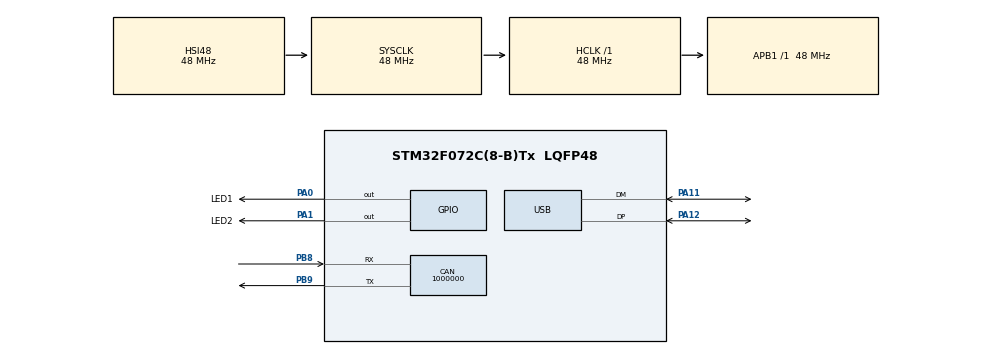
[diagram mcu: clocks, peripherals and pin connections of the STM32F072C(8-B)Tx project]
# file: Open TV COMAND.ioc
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AL94.I-CUBE-USBD-COMPOSITE.1.0.3.CompositeCcUSBJjCOMPOSITEJjCDCIiACM=true
AL94.I-CUBE-USBD-COMPOSITE.1.0.3.CompositeCcUSBJjCOMPOSITEJjCDCIiECM=true
AL94.I-CUBE-USBD-COMPOSITE.1.0.3.CompositeCcUSBJjCOMPOSITEJjCDCIiRNDIS=true
AL94.I-CUBE-USBD-COMPOSITE.1.0.3.CompositeCcUSBJjCOMPOSITEJjCOMPOSITE=true
AL94.I-CUBE-USBD-COMPOSITE.1.0.3.CompositeCcUSBJjCOMPOSITEJjCore=true
AL94.I-CUBE-USBD-COMPOSITE.1.0.3.CompositeCcUSBJjCOMPOSITEJjDFU=true
AL94.I-CUBE-USBD-COMPOSITE.1.0.3.CompositeCcUSBJjCOMPOSITEJjHIDIiCUSTOM=true
AL94.I-CUBE-USBD-COMPOSITE.1.0.3.CompositeCcUSBJjCOMPOSITEJjHIDIiKEYBOARD=true
AL94.I-CUBE-USBD-COMPOSITE.1.0.3.CompositeCcUSBJjCOMPOSITEJjHIDIiMOUSE=true
AL94.I-CUBE-USBD-COMPOSITE.1.0.3.CompositeCcUSBJjCOMPOSITEJjMSCIiBOT=true
AL94.I-CUBE-USBD-COMPOSITE.1.0.3.CompositeCcUSBJjCOMPOSITEJjPRINTER=true
AL94.I-CUBE-USBD-COMPOSITE.1.0.3.CompositeCcUSBJjCOMPOSITEJjUACIiMIC=true
AL94.I-CUBE-USBD-COMPOSITE.1.0.3.CompositeCcUSBJjCOMPOSITEJjUACIiSPKR=true
AL94.I-CUBE-USBD-COMPOSITE.1.0.3.CompositeCcUSBJjCOMPOSITEJjUVC=true
AL94.I-CUBE-USBD-COMPOSITE.1.0.3._STM32F1_DEVICE=true
AL94.I-CUBE-USBD-COMPOSITE.1.0.3._USBD_USE_CDC_ACM=true
AL94.I-CUBE-USBD-COMPOSITE.1.0.3._USBD_USE_HID_KEYBOARD=true
CAN.CalculateBaudRate=1000000
CAN.CalculateTimeBit=1000
CAN.CalculateTimeQuantum=333.3333333333333
CAN.NART=ENABLE
CAN.TTCM=ENABLE
Mcu.Family=STM32F0
Mcu.Name=STM32F072C(8-B)Tx
Mcu.Package=LQFP48
NVIC.CEC_CAN_IRQn=true\:0\:0\:false\:false\:true\:true\:true\:true
NVIC.USB_IRQn=true\:0\:0\:false\:false\:true\:true\:true\:true
PA0.GPIO_Label=LED1
PA0.Signal=GPIO_Output
PA1.GPIO_Label=LED2
PA1.Signal=GPIO_Output
PA11.Mode=Device
PA11.Signal=USB_DM
PA12.Mode=Device
PA12.Signal=USB_DP
PA13.Mode=Serial_Wire
PA13.Signal=SYS_SWDIO
PA14.Mode=Serial_Wire
PA14.Signal=SYS_SWCLK
PB8.Mode=CAN_Activate
PB8.Signal=CAN_RX
PB9.Mode=CAN_Activate
PB9.Signal=CAN_TX
ProjectManager.HeapSize=0x200
ProjectManager.StackSize=0x400
ProjectManager.TargetToolchain=STM32CubeIDE
RCC.AHBFreq_Value=48000000
RCC.APB1Freq_Value=48000000
RCC.APB1TimFreq_Value=48000000
RCC.HCLKFreq_Value=48000000
RCC.SYSCLKFreq_VALUE=48000000
RCC.SYSCLKSource=RCC_SYSCLKSOURCE_HSI48
VP_AL94.I-CUBE-USBD-COMPOSITE_VS_USBJjComposite_1.0.0_1.0.3.Mode=USBJjComposite
board=custom

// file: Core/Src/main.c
/* USER CODE BEGIN Header */
/**
 ******************************************************************************
 * @file           : main.c
 * @brief          : Main program body
 ******************************************************************************
 * @attention
 *
 * Copyright (c) 2026 STMicroelectronics.
 * All rights reserved.
 *
 * This software is licensed under terms that can be found in the LICENSE file
 * in the root directory of this software component.
 * If no LICENSE file comes with this software, it is provided AS-IS.
 *
 ******************************************************************************
 */
/* USER CODE END Header */
#include "main.h"
#include "can.h"
#include "usb.h"
#include "gpio.h"
#include "usb_device.h"
#include "usb_hid_keys.h"
#include "usbd_cdc_acm.h"
#include "usbd_cdc_acm_if.h"
#include "usbd_hid_keyboard.h"

/* USER CODE BEGIN PV */
CAN_TxHeaderTypeDef TxHeader;
CAN_RxHeaderTypeDef RxHeader;
uint8_t TxData[8] = { 0, };
uint8_t RxData[8] = { 0, };
uint32_t TxMailbox = 0;
uint32_t hid_release_tick = 0;    // The time when you need to release the key
uint8_t hid_need_release = 0;    // A flag indicating that the key is currently "push"

_Bool RxInput = 0;
_Bool KeyMode = 0;
unsigned char NumTx = 0;
unsigned char NumPress = 0;

extern uint8_t RX_Buffer[NUMBER_OF_CDC][APP_RX_DATA_SIZE];
volatile uint8_t recvDone = 0;
volatile uint16_t recvLen = 0;
uint8_t TxCDCData[9] = { 0 };
static const char hex_lut[] = "0123456789ABCDEF";
/* USER CODE END PV */

void SystemClock_Config(void);
void MX_GPIO_Init(void);
void MX_CAN_Init(void);

/* USER CODE BEGIN 0 */
extern USBD_HandleTypeDef hUsbDevice;

/* DFU BOOT support for STM32F072 */

#define STM32_DFU_ADDRESS 0x1FFFC800UL

/* Check incoming CDC command */
static uint8_t DFU_IsBootCommand(const uint8_t *data, uint32_t length) {
	const uint8_t command[] = "DFU_BOOT";
	uint32_t i;

	if ((data == NULL) || (length < sizeof(command) - 1U) || (length > sizeof(command) + 1U)) {
		return 0U;
	}

	if (memcmp(data, command, sizeof(command) - 1U) != 0) {
		return 0U;
	}

	for (i = sizeof(command) - 1U; i < length; ++i) {
		if ((data[i] != '\r') && (data[i] != '\n')) {
			return 0U;
		}
	}

	return 1U;
}

/* Jump to STM32 system memory bootloader */
__attribute__((naked, noreturn))
static void DFU_BranchToROM(void) {
	__asm volatile (
			"ldr r0, =0x1FFFC800\n"
			"ldr r1, [r0]\n"
			"ldr r0, [r0, #4]\n"
			"msr msp, r1\n"
			"cpsie i\n"
			"bx r0\n"
	);
}

/* Jumping to the ROM from the running application leaves USB dead until the board
 * is re-plugged. Set a flag that survives a reset, reset the chip, and jump from the
 * top of main() while every peripheral is still in its reset state. */
#define DFU_MAGIC 0xDF00B007UL
static volatile uint32_t dfuMagic __attribute__((section(".noinit")));

static void DFU_EnterBootloader(void) __attribute__((noreturn));

static void DFU_EnterBootloader(void) {
	/* Disconnect USB from host */
	(void) HAL_PCD_DevDisconnect(&hpcd_USB_FS);
	HAL_Delay(100U);

	dfuMagic = DFU_MAGIC;
	NVIC_SystemReset();

	for (;;) {
	}
}

/* END DFU BOOT support */

typedef struct {
	uint8_t MODIFIER;
	uint8_t RESERVED;
	uint8_t KEYCODE1;
	uint8_t KEYCODE2;
	uint8_t KEYCODE3;
	uint8_t KEYCODE4;
	uint8_t KEYCODE5;
	uint8_t KEYCODE6;
} keyboardHID;

keyboardHID keyboardhid = { 0, 0, 0, 0, 0, 0, 0, 0 };

// Fast inline function for assembling and sending a package to CDC
__STATIC_INLINE void CAN_To_CDC_FormatAndTransmit(uint16_t stdId, uint8_t dlc, const uint8_t *data) {
	char tx_buf[45]; // A local buffer on the stack prevents race conditions between interrupts

	// Filling in the constant prefix "RX ID " and " HEX "
	tx_buf[0] = 'R';
	tx_buf[1] = 'X';
	tx_buf[2] = ' ';
	tx_buf[3] = 'I';
	tx_buf[4] = 'D';
	tx_buf[5] = ' ';
	tx_buf[10] = ' ';
	tx_buf[11] = 'H';
	tx_buf[12] = 'E';
	tx_buf[13] = 'X';
	tx_buf[14] = ' ';

	// Convert StdId to 4 HEX characters
	tx_buf[6] = hex_lut[(stdId >> 12) & 0x0F];
	tx_buf[7] = hex_lut[(stdId >> 8) & 0x0F];
	tx_buf[8] = hex_lut[(stdId >> 4) & 0x0F];
	tx_buf[9] = hex_lut[stdId & 0x0F];

	// Data Byte conversion
	int idx = 15;
	for (uint32_t i = 0; i < dlc; i++) {
		tx_buf[idx++] = hex_lut[(data[i] >> 4) & 0x0F];
		tx_buf[idx++] = hex_lut[data[i] & 0x0F];
		tx_buf[idx++] = ' ';
	}

	// Windows-style Line completion (CRLF)
	tx_buf[idx++] = '\r';
	tx_buf[idx++] = '\n';

	// Direct transfer to USB CDC
	CDC_Transmit(0, (uint8_t*) tx_buf, idx);
}

void SendKey(uint8_t key) {
	keyboardhid.KEYCODE1 = key;
	USBD_HID_Keyboard_SendReport(&hUsbDevice, (uint8_t*) &keyboardhid, sizeof(keyboardhid));
}

void SendKeyClick(uint8_t key) {
	SendKey(key);
	hid_release_tick = HAL_GetTick() + 10; // Memorize the release time
	hid_need_release = 1;
	SendKey(KEY_NONE);

}

void HAL_CAN_RxFifo0MsgPendingCallback(CAN_HandleTypeDef *hcan) {
	if (HAL_CAN_GetRxMessage(hcan, CAN_RX_FIFO0, &RxHeader, RxData) == HAL_OK) {
		HAL_GPIO_TogglePin(GPIOA, GPIO_PIN_0);
		RxInput = 1;

		if (RxHeader.DLC == 1) {
			NumTx = RxData[0];
		}

		// Calling formatting and end-to-end sending CDC
		CAN_To_CDC_FormatAndTransmit(RxHeader.StdId, RxHeader.DLC, RxData);
	}

}

void HAL_CAN_RxFifo1MsgPendingCallback(CAN_HandleTypeDef *hcan) {
	CAN_RxHeaderTypeDef fifo1RxHeader;
	uint8_t fifo1RxData[8];

	// Taking the package from isolated FIFO 1
	if (HAL_CAN_GetRxMessage(hcan, CAN_RX_FIFO1, &fifo1RxHeader, fifo1RxData) == HAL_OK) {
		// Calling formatting and end-to-end sending CDC
		CAN_To_CDC_FormatAndTransmit(fifo1RxHeader.StdId, fifo1RxHeader.DLC, fifo1RxData);
	}
}

void HAL_CAN_ErrorCallback(CAN_HandleTypeDef *hcan) {

}

/* USER CODE END 0 */

int main(void) {

	/* USER CODE BEGIN 1 */
	if (dfuMagic == DFU_MAGIC) { /* DFU_BOOT asked for the ROM bootloader before the reset */
		dfuMagic = 0;
		__HAL_RCC_SYSCFG_CLK_ENABLE();
		__HAL_SYSCFG_REMAPMEMORY_SYSTEMFLASH();
		DFU_BranchToROM();
	}

	/* dfu-util's "leave" jumps here from the ROM with system memory still mapped at 0,
	 * so the interrupt vectors (no VTOR on the M0) would be the ROM's and USB never
	 * comes up until a re-plug. Map our flash back first. */
	__HAL_RCC_SYSCFG_CLK_ENABLE();
	__HAL_SYSCFG_REMAPMEMORY_FLASH();
	/* USER CODE END 1 */

	/* MCU Configuration--------------------------------------------------------*/

	/* Reset of all peripherals, Initializes the Flash interface and the Systick. */
	HAL_Init();

	/* Configure the system clock */
	SystemClock_Config();

	/* Initialize all configured peripherals */
	MX_GPIO_Init();
	MX_CAN_Init();
	MX_USB_PCD_Init();
	MX_USB_DEVICE_Init();
	/* USER CODE BEGIN 2 */
	TxHeader.StdId = 0x0264;
	TxHeader.ExtId = 0;
	TxHeader.RTR = CAN_RTR_DATA; //CAN_RTR_REMOTE
	TxHeader.IDE = CAN_ID_STD;   // CAN_ID_EXT
	TxHeader.DLC = 8;
	TxHeader.TransmitGlobalTime = 0;

	HAL_CAN_Start(&hcan);
	HAL_CAN_ActivateNotification(&hcan, CAN_IT_RX_FIFO0_MSG_PENDING);
	HAL_CAN_ActivateNotification(&hcan, CAN_IT_RX_FIFO1_MSG_PENDING);

	TxHeader.DLC = 3; // Power UP TX
	TxData[0] = 0xE0;
	TxData[1] = 0x01;
	TxData[2] = 0x00;
	while (HAL_CAN_GetTxMailboxesFreeLevel(&hcan) == 0)
		;
	if (HAL_CAN_AddTxMessage(&hcan, &TxHeader, TxData, &TxMailbox) == HAL_OK) {
		HAL_GPIO_TogglePin(GPIOA, GPIO_PIN_1);
	}
	/* USER CODE END 2 */

	/* Infinite loop */
	/* USER CODE BEGIN WHILE */
	while (1) {

		// Non-blocking reset of the HID key
		if (hid_need_release && (HAL_GetTick() >= hid_release_tick)) {
			hid_need_release = 0;
			SendKey(KEY_NONE); //
		}

		/* Read the flag once per pass: a line arriving between the two checks below
		 * skipped the DFU_BOOT check and went out to the cluster as text. */
		const uint8_t line = recvDone;

		/* DFU_BOOT command via USB CDC-ACM */
		if ((line == 1U) && DFU_IsBootCommand(RX_Buffer[0], recvLen)) {
			static uint8_t response[] = "DFU_BOOT_OK\r\n";

			/* Send acknowledgement */
			(void) CDC_Transmit(0, response, sizeof(response) - 1U);

			recvDone = 0U;

			/* Allow USB transmission to complete */
			HAL_Delay(100U);

			/* Jump to system DFU bootloader */
			DFU_EnterBootloader();
		}
		/* END DFU_BOOT command */

		//==============================================================================================================================================
		/* TV tuner emulator BEGIN */

		if (line == 1) {
			// Data capture (Snapshot) under the protection of disabling interrupts
			__disable_irq();
			uint16_t localLen = recvLen;
			uint8_t localBuffer[9] = { 0 };
			memcpy(localBuffer, TxCDCData, localLen);
			recvDone = 0; // Now USB can accept a new line in the background while we are busy with CAN
			__enable_irq();

			// Calculation of the total length of the payload (text + terminator 0x00)
			uint8_t dataTotalLen = localLen + 1;

			// --- FORMATION AND SENDING OF THE FIRST PACKET ---
			// In the first packet, a maximum of 4 bytes are available for text (after 4 service bytes)
			uint8_t pack1TextLen = (dataTotalLen > 4) ? 4 : dataTotalLen;

			uint8_t TxData[8] = { 0 }; // A clean array for CAN
			TxHeader.DLC = 4 + pack1TextLen; // Dynamic DLC
			TxData[0] = (NumTx & 0x0F) + 0x00; // Serial number of package #1
			TxData[1] = 0x47;                  // ASCII text to IC prefix
			TxData[2] = 0xFF;                  // TV Number
			TxData[3] = 0xFF;                  // Purpose unknown (?)
			for (uint8_t i = 0; i < pack1TextLen; i++) {
				if (i == localLen) {
					TxData[4 + i] = 0x00; // We set the end sign if the text has ended
				} else {
					TxData[4 + i] = localBuffer[i];
				}
			}

			// Freeze protection: sending with a hard timeout of 10 ms
			uint32_t timeout = HAL_GetTick() + 10;
			while (HAL_CAN_GetTxMailboxesFreeLevel(&hcan) == 0) {
				if (HAL_GetTick() > timeout)
					break;
			}
			if (HAL_CAN_AddTxMessage(&hcan, &TxHeader, TxData, &TxMailbox) == HAL_OK) {
				NumTx++;
			}

			// --- FORMING AND SENDING A SECOND PACKET (only if the text is > 3 characters) ---
			if (dataTotalLen > 4) {
				uint8_t pack2TextLen = dataTotalLen - 4; // Remaining bytes (maximum 5)

				memset(TxData, 0, 8); // Clearing the array for the second frame
				TxHeader.DLC = 1 + pack2TextLen; // 1 service byte + remainder of payload
				TxData[0] = (NumTx & 0x0F) + 0x10; // Serial number of packet #2
				for (uint8_t i = 0; i < pack2TextLen; i++) {
					uint8_t textIndex = 4 + i;
					if (textIndex == localLen) {
						TxData[1 + i] = 0x00; // End of line
					} else {
						TxData[1 + i] = localBuffer[textIndex];
					}
				}

				timeout = HAL_GetTick() + 10;
				while (HAL_CAN_GetTxMailboxesFreeLevel(&hcan) == 0) {
					if (HAL_GetTick() > timeout)
						break;
				}
				if (HAL_CAN_AddTxMessage(&hcan, &TxHeader, TxData, &TxMailbox) == HAL_OK) {
					NumTx++;
				}
			}

			HAL_GPIO_TogglePin(GPIOA, GPIO_PIN_1); // End of transmission
		}

		if (RxInput == 1) {
			//==============================================================================================================================================
			/* TV tuner init BEGIN */

			if (NumTx == 0) {

				TxHeader.DLC = 6;                    //Purpose unknown (?)
				TxData[0] = (NumTx & 0x0F) + 0x10;
				TxData[1] = 0x15;
				TxData[2] = 0x01;
				TxData[3] = 0x01; // or 0x00 unknown difference
				TxData[4] = 0x02;
				TxData[5] = 0x02; // or 0x00 unknown difference
				while (HAL_CAN_GetTxMailboxesFreeLevel(&hcan) == 0)
					;
				if (HAL_CAN_AddTxMessage(&hcan, &TxHeader, TxData, &TxMailbox) == HAL_OK) {
					HAL_GPIO_TogglePin(GPIOA, GPIO_PIN_1);
					NumTx++;
				}
			}

			if (RxData[0] == 0xE0 && RxData[1] == 0x01 && RxData[2] == 0x00) { // Handshake

				NumTx = 0;
				TxHeader.DLC = 3;
				TxData[0] = 0xE0;
				TxData[1] = 0x01;
				TxData[2] = 0x00;
				while (HAL_CAN_GetTxMailboxesFreeLevel(&hcan) == 0)
					;
				if (HAL_CAN_AddTxMessage(&hcan, &TxHeader, TxData, &TxMailbox) == HAL_OK) {
					HAL_GPIO_TogglePin(GPIOA, GPIO_PIN_1);
				}

			}

			if (RxData[0] == 0xA3 && RxData[1] == 0x00) { //Ping - Pong

				TxHeader.DLC = 2;
				TxData[0] = 0xE1;
				TxData[1] = 0x01;
				while (HAL_CAN_GetTxMailboxesFreeLevel(&hcan) == 0)
					;
				if (HAL_CAN_AddTxMessage(&hcan, &TxHeader, TxData, &TxMailbox) == HAL_OK) {
					HAL_GPIO_TogglePin(GPIOA, GPIO_PIN_1);
				}

			}

			if (RxHeader.DLC > 1 && RxData[0] < 50) {  //ACK for all requests
				TxHeader.DLC = 1;
				TxData[0] = ((RxData[0] + 0x01) & 0x0F) + 0xB0;
				while (HAL_CAN_GetTxMailboxesFreeLevel(&hcan) == 0)
					;
				if (HAL_CAN_AddTxMessage(&hcan, &TxHeader, TxData, &TxMailbox) == HAL_OK) {

				}
			}

			if (RxData[1] == 0x00 && RxData[2] == 0x01) { //Purpose unknown (?)

				TxHeader.DLC = 3;
				TxData[0] = (NumTx & 0x0F) + 0x10;
				TxData[1] = 0x01;
				TxData[2] = 0x01;
				while (HAL_CAN_GetTxMailboxesFreeLevel(&hcan) == 0)
					;
				if (HAL_CAN_AddTxMessage(&hcan, &TxHeader, TxData, &TxMailbox) == HAL_OK) {
					HAL_GPIO_TogglePin(GPIOA, GPIO_PIN_1);
					NumTx++;
				}

			}

			if (RxData[1] == 0x26) { //Video status (?)

				TxHeader.DLC = 4;
				TxData[0] = (NumTx & 0x0F) + 0x10;
				TxData[1] = 0x27;
				TxData[2] = 0x02; 					// 0x01 = PAL 50 Hertz, 0x02 = NTSC 60 Hertz
				TxData[3] = 0x01; 			// 0x00 = video off, 0x01 = video on (?)
				while (HAL_CAN_GetTxMailboxesFreeLevel(&hcan) == 0)
					;
				if (HAL_CAN_AddTxMessage(&hcan, &TxHeader, TxData, &TxMailbox) == HAL_OK) {
					HAL_GPIO_TogglePin(GPIOA, GPIO_PIN_1);
					NumTx++;
				}
			}

			/* TV tuner init END */
			//==============================================================================================================================================
			/* SW HW data BEGIN */

			if (RxData[1] == 0x08) { //Request tuner SW HW data  (open the service menu - version - TV)

				TxHeader.DLC = 8;
				TxData[0] = (NumTx & 0x0F) + 0x00;
				TxData[1] = 0x09;						//Purpose unknown (?)
				TxData[2] = 0x01;						//Purpose unknown (?)
				TxData[3] = 0x01;						//Purpose unknown (?)
				TxData[4] = 0x20;						//Purpose unknown (?)
				TxData[5] = 0x00;						//SW TV tuner Version
				TxData[6] = 0x03; 						//SW TV tuner Version
				TxData[7] = '1';						//ASCII TV tuner Version
				while (HAL_CAN_GetTxMailboxesFreeLevel(&hcan) == 0)
					;
				if (HAL_CAN_AddTxMessage(&hcan, &TxHeader, TxData, &TxMailbox) == HAL_OK) {
					HAL_GPIO_TogglePin(GPIOA, GPIO_PIN_1);
					NumTx++;
				}
				HAL_Delay(5);
				TxHeader.DLC = 8;
				TxData[0] = (NumTx & 0x0F) + 0x00;
				TxData[1] = '1';						//ASCII TV tuner Version
				TxData[2] = '1';						//ASCII TV tuner Version
				TxData[3] = '1';						//ASCII TV tuner Version
				TxData[4] = '1';						//ASCII TV tuner Version
				TxData[5] = '1'; 						//ASCII TV tuner Version
				TxData[6] = '1';						//ASCII TV tuner Version
				TxData[7] = '1';						//ASCII TV tuner Version
				while (HAL_CAN_GetTxMailboxesFreeLevel(&hcan) == 0)
					;
				if (HAL_CAN_AddTxMessage(&hcan, &TxHeader, TxData, &TxMailbox) == HAL_OK) {
					HAL_GPIO_TogglePin(GPIOA, GPIO_PIN_1);
					NumTx++;
				}

				HAL_Delay(5);
				TxHeader.DLC = 8;
				TxData[0] = (NumTx & 0x0F) + 0x00;
				TxData[1] = 0x00;						//END ASCII TV tuner Version
				TxData[2] = '2';						//ASCII TV tuner Version
				TxData[3] = '2';						//ASCII TV tuner Version
				TxData[4] = '2';						//ASCII TV tuner Version
				TxData[5] = '2';						//ASCII TV tuner Version
				TxData[6] = '2'; 						//ASCII TV tuner Version
				TxData[7] = '2';						//ASCII TV tuner Version
				while (HAL_CAN_GetTxMailboxesFreeLevel(&hcan) == 0)
					;
				if (HAL_CAN_AddTxMessage(&hcan, &TxHeader, TxData, &TxMailbox) == HAL_OK) {
					HAL_GPIO_TogglePin(GPIOA, GPIO_PIN_1);
					NumTx++;
				}

				HAL_Delay(5);
				TxHeader.DLC = 8;
				TxData[0] = (NumTx & 0x0F) + 0x10;
				TxData[1] = '2';						//ASCII TV tuner Version
				TxData[2] = '2';						//ASCII TV tuner Version
				TxData[3] = '2';						//ASCII TV tuner Version
				TxData[4] = '2';						//ASCII TV tuner Version
				TxData[5] = 0x00;						//END ASCII TV tuner Version
				TxData[6] = 0x22; 						//HW TV tuner Version
				TxData[7] = 0x11; 						//HW TV tuner Version
				while (HAL_CAN_GetTxMailboxesFreeLevel(&hcan) == 0)
					;
				if (HAL_CAN_AddTxMessage(&hcan, &TxHeader, TxData, &TxMailbox) == HAL_OK) {
					HAL_GPIO_TogglePin(GPIOA, GPIO_PIN_1);
					NumTx++;
				}

			}
			/* SW HW data END */
			//==============================================================================================================================================
			/* COMAND to TV settings BEGIN */

			if (RxData[1] == 0x24) { //COMAND to TV settings

			//Variable settings = RxData[2]  //0x0* == Search on Freq + miles			0x*0 == Deutsche  	0xFF == no data
			//								 //0x4* == Search on Freq + kilometers		0x*1 == English
			//						    	 //0x8* == Search on Memory + miles 		0x*2 == French
			//								 //0xC* == Search on Memory + kilometers	0x*3 == Italian
			//																			0x*4 ==	Spanish
			//Light interior = RxData[3] //0x00 == Light off, 0x0C-0x64 == Light on and dimming 			0xFF == no data
			//Light sensor	 = RxData[4] //0x00 == day, 0x40 == night										0xFF == no data
			//Key lock state = RxData[5] //0x00 ==  key is out lock,  0x01 == key insert, 0x03 == ACC, 0x0F == ignition, 0x17 == RUN,  0x07 == release RUN 0xFF == no data
			//UNKNOW SETTING = RxData[6] //always == 0x00 (speed?)											0xFF == no data
			//UNKNOW SETTING = RxData[7] //always == 0x00 (speed?)											0xFF == no data

			}

			/* COMAND to TV settings  END */
			//==============================================================================================================================================
			/* COMAND to TV warnings BEGIN */

			if (RxData[1] == 0x42) { //COMAND to TV warnings

				//Warnings = RxData[2]
				//0x00 == Clear Warning
				//0x01 == Low Voltage, disable after 3 minutes
				//0x02 == Low Voltage, disable after 10 seconds
				//0x03 == Low Voltage, disable right now
				//0x04 == Turn the key, disable after 3 minutes
				//0x05 == Turn the key, disable after 10 seconds
				//0x06 == Turn the key, disable right now
				//0x07 == NAVI, No navigation disk
				//0x08 == NAVI, Voice output is muted
				//0x09 == Commn, Process Active

			}

			/* COMAND to TV warnings  END */
			//==============================================================================================================================================
			/* TV to COMAND to Cluster BEGIN */

			if (RxData[1] == 0x46) {

				TxHeader.DLC = 8;
				TxData[0] = (NumTx & 0x0F) + 0x00;
				TxData[1] = 0x47; 						//Sending ASCII TV tuner - COMAND - instrument cluster
				TxData[2] = 0xFF;						//Number TV
				TxData[3] = 0xFF;						//Purpose unknown (?)
				TxData[4] = 'L';						//1 ASCII TV tuner - COMAND - instrument cluster //Send 0x00 for END roll
				TxData[5] = 'o';						//2 ASCII TV tuner - COMAND - instrument cluster
				TxData[6] = 'a'; 						//3 ASCII TV tuner - COMAND - instrument cluster
				TxData[7] = 'd'; 						//4 ASCII TV tuner - COMAND - instrument cluster
				while (HAL_CAN_GetTxMailboxesFreeLevel(&hcan) == 0)
					;
				if (HAL_CAN_AddTxMessage(&hcan, &TxHeader, TxData, &TxMailbox) == HAL_OK) {
					HAL_GPIO_TogglePin(GPIOA, GPIO_PIN_1);
					NumTx++;
				}

				TxHeader.DLC = 6;
				TxData[0] = (NumTx & 0x0F) + 0x10;
				TxData[1] = 'i'; 						//5 ASCII TV tuner - COMAND - instrument cluster
				TxData[2] = 'n'; 						//6 ASCII TV tuner - COMAND - instrument cluster
				TxData[3] = 'g'; 						//7 ASCII TV tuner - COMAND - instrument cluster
				TxData[4] = 0x00; 						//8 ASCII TV tuner - COMAND - instrument cluster
				TxData[5] = 0x00;             			//END ASCII TV tuner - COMAND - instrument cluster
				while (HAL_CAN_GetTxMailboxesFreeLevel(&hcan) == 0)
					;
				if (HAL_CAN_AddTxMessage(&hcan, &TxHeader, TxData, &TxMailbox) == HAL_OK) {
					HAL_GPIO_TogglePin(GPIOA, GPIO_PIN_1);
					NumTx++;
				}

			}

			/* TV to COMAND to Cluster END */
			//==============================================================================================================================================
			/* COMAND to HID BEGIN */

			if (RxData[1] == 0x30) { // Key process

				if (RxData[2] == 0x01) { // Key press

					NumPress++; // Counter for long press

					switch (RxData[3]) {
					case 0x40: // 0 Key
						SendKey(KEY_KP0);
						break;
					case 0x41: // 1 Key
						SendKey(KEY_KP1);
						break;
					case 0x42: // 2 Key
						SendKey((KeyMode == 0) ? KEY_UP : KEY_KP2);
						break;
					case 0x43: // 3 Key
						SendKey(KEY_KP3);
						break;
					case 0x44: // 4 Key
						SendKey((KeyMode == 0) ? KEY_LEFT : KEY_KP4);
						break;

					case 0x45: // 5 Key
						if (NumPress == 40) {
							KeyMode = !KeyMode;
						}
						SendKey((KeyMode == 0) ? KEY_ENTER : KEY_KP5);
						break;

					case 0x46: // 6 Key
						SendKey((KeyMode == 0) ? KEY_RIGHT : KEY_KP6);
						break;
					case 0x47: // 7 Key
						SendKey(KEY_KP7);
						break;
					case 0x48: // 8 Key
						SendKey((KeyMode == 0) ? KEY_DOWN : KEY_KP8);
						break;
					case 0x49: // 9 Key
						SendKey(KEY_KP9);
						break;

					case 0x50: // * Key
						if (NumPress == 1) {
							SendKey(KEY_KPASTERISK);
						} else if (NumPress == 40) {
							TxHeader.DLC = 4;   // Open sound settings
							TxData[0] = (NumTx & 0x0F) + 0x10;
							TxData[1] = 0x2D;
							TxData[2] = 0x01;
							TxData[3] = 0x01;
							while (HAL_CAN_GetTxMailboxesFreeLevel(&hcan) == 0)
								;
							if (HAL_CAN_AddTxMessage(&hcan, &TxHeader, TxData, &TxMailbox) == HAL_OK) {
								HAL_GPIO_TogglePin(GPIOA, GPIO_PIN_1);
								NumTx++;
							}
						}
						break;

					case 0x51: // # Key
						SendKey(KEY_KPDOT);
						break;
					case 0x62: // Back Key
						SendKey(KEY_B);
						break;
					case 0x69: // Back Steering Wheel Key
						SendKey(KEY_B);
						break;
					case 0x63: // Forward Key
						SendKey(KEY_N);
						break;
					case 0x68: // Forward Steering Wheel Key
						SendKey(KEY_N);
						break;
					case 0x71: // Press Encoder
						SendKey(KEY_ENTER);
						break;
					case 0x80: // RET Key
						SendKey(KEY_BACKSPACE);
						break;
					default:
						break;
					}

				} else if (RxData[2] == 0x02) { // Key release
					NumPress = 0;
					SendKey(KEY_NONE);
				}
			}

			if (RxData[1] == 0x34) { // Encoder rotary
				if (RxData[2] == 0x01) // + rotary
					SendKeyClick(KEY_KPPLUS);
				else if (RxData[2] == 0x02) // - rotary
					SendKeyClick(KEY_KPMINUS);
			}

			if (RxData[1] == 0x2A) { // State TV mode
				if (RxData[2] == 0x01) // Open TV
					SendKeyClick(KEY_F1);
				else if (RxData[2] == 0x02) // Close TV
					SendKeyClick(KEY_F2);
			}

			if (RxData[1] == 0x2C) { // State sound background TV mode
				if (RxData[2] == 0x01)  // TV sound enable
					SendKeyClick(KEY_F1);
			}

			if (RxData[1] == 0x3A) { // State Mute button
				if (RxData[2] == 0x00) // UNMute
					SendKeyClick(KEY_F1);
				else if (RxData[2] == 0x01) // Mute
					SendKeyClick(KEY_F2);

			}

			if (RxData[1] == 0x36 && RxData[2] == 0x02) { // COMAND Power off
				if (RxData[2] == 0x02)
					SendKeyClick(KEY_F5);
			}

			/* COMAND to HID END */
			//==============================================================================================================================================
			RxInput = 0;
		}

		/* TV tuner emulator END */
		//==============================================================================================================================================
		/* USER CODE END WHILE */

	}
}

void SystemClock_Config(void) {
	RCC_OscInitTypeDef RCC_OscInitStruct = { 0 };
	RCC_ClkInitTypeDef RCC_ClkInitStruct = { 0 };
	RCC_PeriphCLKInitTypeDef PeriphClkInit = { 0 };

	/** Initializes the RCC Oscillators according to the specified parameters
	 * in the RCC_OscInitTypeDef structure.
	 */
	RCC_OscInitStruct.OscillatorType = RCC_OSCILLATORTYPE_HSI48;
	RCC_OscInitStruct.HSI48State = RCC_HSI48_ON;
	RCC_OscInitStruct.PLL.PLLState = RCC_PLL_NONE;
	if (HAL_RCC_OscConfig(&RCC_OscInitStruct) != HAL_OK) {
		Error_Handler();
	}

	/** Initializes the CPU, AHB and APB buses clocks
	 */
	RCC_ClkInitStruct.ClockType = RCC_CLOCKTYPE_HCLK | RCC_CLOCKTYPE_SYSCLK | RCC_CLOCKTYPE_PCLK1;
	RCC_ClkInitStruct.SYSCLKSource = RCC_SYSCLKSOURCE_HSI48;
	RCC_ClkInitStruct.AHBCLKDivider = RCC_SYSCLK_DIV1;
	RCC_ClkInitStruct.APB1CLKDivider = RCC_HCLK_DIV1;

	if (HAL_RCC_ClockConfig(&RCC_ClkInitStruct, FLASH_LATENCY_1) != HAL_OK) {
		Error_Handler();
	}
	PeriphClkInit.PeriphClockSelection = RCC_PERIPHCLK_USB;
	PeriphClkInit.UsbClockSelection = RCC_USBCLKSOURCE_HSI48;

	if (HAL_RCCEx_PeriphCLKConfig(&PeriphClkInit) != HAL_OK) {
		Error_Handler();
	}
}

void Error_Handler(void) {
	__disable_irq();
	while (1) {
	}
}
